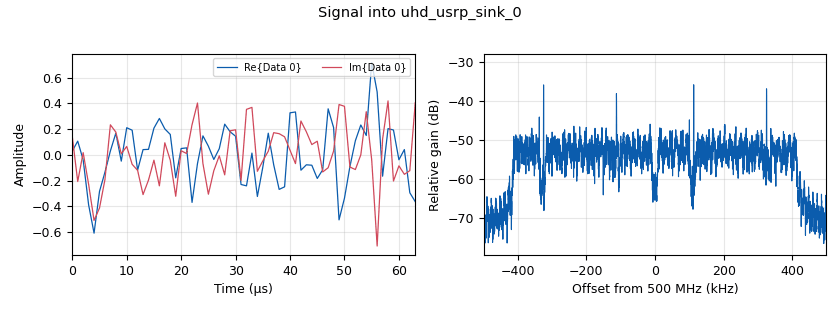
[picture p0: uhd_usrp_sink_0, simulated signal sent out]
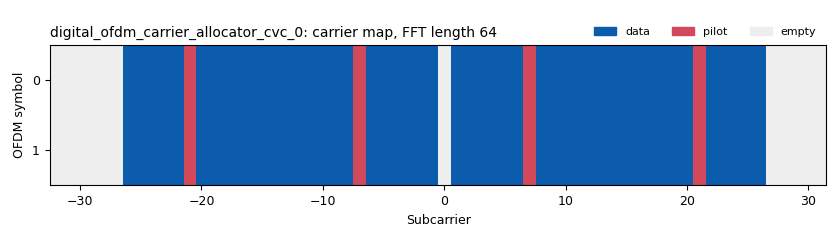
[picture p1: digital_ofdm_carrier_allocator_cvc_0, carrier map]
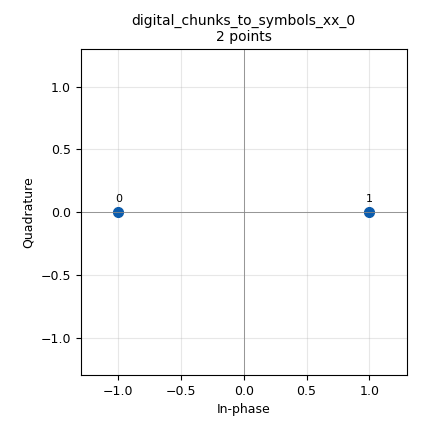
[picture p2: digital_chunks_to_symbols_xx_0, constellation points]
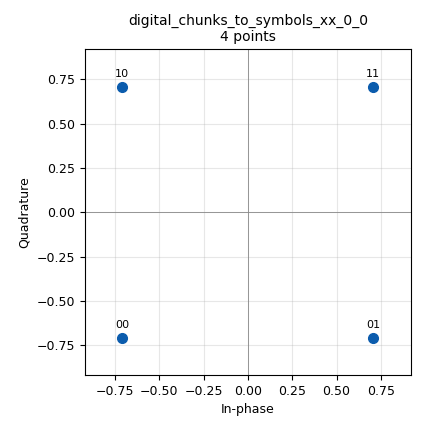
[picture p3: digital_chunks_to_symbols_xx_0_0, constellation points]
<?xml version='1.0' encoding='utf-8'?>
<?grc format='1' created='3.7.11'?>
<flow_graph>
<block>
<key>options</key>
<param><key>id</key><value>tx_ofdm</value></param>
<param><key>category</key><value>Custom</value></param>
<param><key>description</key><value>Example of an OFDM Transmitter</value></param>
<param><key>generate_options</key><value>qt_gui</value></param>
<param><key>run_options</key><value>run</value></param>
<param><key>title</key><value>OFDM Tx</value></param>
</block>
<block>
<key>variable_qtgui_range</key>
<param><key>id</key><value>Gain</value></param>
<param><key>value</key><value>8</value></param>
<param><key>label</key><value>"Noise"</value></param>
<param><key>orient</key><value>Qt.Horizontal</value></param>
<param><key>start</key><value>0</value></param>
<param><key>step</key><value>0.1</value></param>
<param><key>stop</key><value>18</value></param>
</block>
<block>
<key>variable</key>
<param><key>id</key><value>MTU</value></param>
<param><key>value</key><value>10000</value></param>
</block>
<block>
<key>variable</key>
<param><key>id</key><value>addr</value></param>
<param><key>value</key><value>"addr=192.168.10.2"</value></param>
</block>
<block>
<key>variable</key>
<param><key>id</key><value>addr_2</value></param>
<param><key>value</key><value>"addr=192.168.10.3"</value></param>
</block>
<block>
<key>variable_cc_decoder_def</key>
<param><key>id</key><value>dec_cc</value></param>
<param><key>padding</key><value>True</value></param>
<param><key>k</key><value>k</value></param>
<param><key>state_end</key><value>-1</value></param>
<param><key>framebits</key><value>MTU*8</value></param>
<param><key>ndim</key><value>0</value></param>
<param><key>polys</key><value>polys</value></param>
<param><key>rate</key><value>rate</value></param>
<param><key>state_start</key><value>0</value></param>
<param><key>mode</key><value>fec.CC_TERMINATED</value></param>
</block>
<block>
<key>variable_cc_encoder_def</key>
<param><key>id</key><value>enc_cc</value></param>
<param><key>padding</key><value>True</value></param>
<param><key>k</key><value>k</value></param>
<param><key>framebits</key><value>MTU*8</value></param>
<param><key>ndim</key><value>0</value></param>
<param><key>polys</key><value>polys</value></param>
<param><key>rate</key><value>rate</value></param>
<param><key>state_start</key><value>0</value></param>
<param><key>mode</key><value>fec.CC_TERMINATED</value></param>
</block>
<block>
<key>variable</key>
<param><key>id</key><value>fft_len</value></param>
<param><key>value</key><value>64</value></param>
</block>
<block>
<key>variable</key>
<param><key>id</key><value>frame_length</value></param>
<param><key>value</key><value>"frame_len"</value></param>
</block>
<block>
<key>variable</key>
<param><key>id</key><value>hdr_format</value></param>
<param><key>value</key><value>digital.header_format_ofdm(occupied_carriers, 1, length_tag_key,)</value></param>
</block>
<block>
<key>variable</key>
<param><key>id</key><value>header_equalizer</value></param>
<param><key>value</key><value>digital.ofdm_equalizer_simpledfe(fft_len, header_mod.base(), occupied_carriers, pilot_carriers, pilot_symbols)</value></param>
</block>
<block>
<key>variable</key>
<param><key>id</key><value>header_formatter</value></param>
<param><key>value</key><value>digital.packet_header_ofdm(occupied_carriers, n_syms=1, len_tag_key=length_tag_key, frame_len_tag_key=frame_length, bits_per_header_sym=header_mod.bits_per_symbol(), bits_per_payload_sym=payload_mod.bits_per_symbol(), scramble_header=False)</value></param>
</block>
<block>
<key>variable</key>
<param><key>id</key><value>header_mod</value></param>
<param><key>value</key><value>digital.constellation_bpsk()</value></param>
</block>
<block>
<key>variable</key>
<param><key>id</key><value>k</value></param>
<param><key>value</key><value>7</value></param>
</block>
<block>
<key>variable</key>
<param><key>id</key><value>length_tag_key</value></param>
<param><key>value</key><value>"packet_len"</value></param>
</block>
<block>
<key>variable</key>
<param><key>id</key><value>occupied_carriers</value></param>
<param><key>value</key><value>(range(-26, -21) + range(-20, -7) + range(-6, 0) + range(1, 7) + range(8, 21) + range(22, 27),)</value></param>
</block>
<block>
<key>variable</key>
<param><key>id</key><value>packet_len</value></param>
<param><key>value</key><value>96</value></param>
</block>
<block>
<key>variable</key>
<param><key>id</key><value>payload_equalizer</value></param>
<param><key>value</key><value>digital.ofdm_equalizer_simpledfe(fft_len, payload_mod.base(), occupied_carriers, pilot_carriers, pilot_symbols, 1)</value></param>
</block>
<block>
<key>variable</key>
<param><key>id</key><value>payload_mod</value></param>
<param><key>value</key><value>digital.constellation_qpsk()</value></param>
</block>
<block>
<key>variable</key>
<param><key>id</key><value>pilot_carriers</value></param>
<param><key>value</key><value>((-21, -7, 7, 21,),)</value></param>
</block>
<block>
<key>variable</key>
<param><key>id</key><value>pilot_symbols</value></param>
<param><key>value</key><value>((1, 1, 1, -1,),)</value></param>
</block>
<block>
<key>variable</key>
<param><key>id</key><value>polys</value></param>
<param><key>value</key><value>[109, 79]</value></param>
</block>
<block>
<key>variable</key>
<param><key>id</key><value>rate</value></param>
<param><key>value</key><value>2</value></param>
</block>
<block>
<key>variable</key>
<param><key>id</key><value>rolloff</value></param>
<param><key>value</key><value>0</value></param>
</block>
<block>
<key>variable</key>
<param><key>id</key><value>samp_rate</value></param>
<param><key>value</key><value>1000000</value></param>
</block>
<block>
<key>variable</key>
<param><key>id</key><value>sync_word1</value></param>
<param><key>value</key><value>[0., 0., 0., 0., 0., 0., 0., 1.41421356, 0., -1.41421356, 0., 1.41421356, 0., -1.41421356, 0., -1.41421356, 0., -1.41421356, 0., 1.41421356, 0., -1.41421356, 0., 1.41421356, 0., -1.41421356, 0., -1.41421356, 0., -1.41421356, 0., -1.41421356, 0., 1.41421356, 0., -1.41421356, 0., 1.41421356, 0., 1.41421356, 0., 1.41421356, 0., -1.41421356, 0., 1.41421356, 0., 1.41421356, 0., 1.41421356, 0., -1.41421356, 0., 1.41421356, 0., 1.41421356, 0., 1.41421356, 0., 0., 0., 0., 0., 0.]</value></param>
</block>
<block>
<key>variable</key>
<param><key>id</key><value>sync_word2</value></param>
<param><key>value</key><value>[0, 0, 0, 0, 0, 0, -1, -1, -1, -1, 1, 1, -1, -1, -1, 1, -1, 1, 1, 1, 1, 1, -1, -1, -1, -1, -1, 1, -1, -1, 1, -1, 0, 1, -1, 1, 1, 1, -1, 1, 1, 1, -1, 1, 1, 1, 1, -1, 1, -1, -1, -1, 1, -1, 1, -1, -1, -1, -1, 0, 0, 0, 0, 0] </value></param>
</block>
<block>
<key>analog_frequency_modulator_fc</key>
<param><key>id</key><value>analog_frequency_modulator_fc_0</value></param>
<param><key>sensitivity</key><value>-2.0/fft_len</value></param>
</block>
<block>
<key>analog_noise_source_x</key>
<param><key>id</key><value>analog_noise_source_x_0</value></param>
<param><key>amp</key><value>0.1</value></param>
<param><key>_enabled</key><value>0</value></param>
<param><key>noise_type</key><value>analog.GR_GAUSSIAN</value></param>
<param><key>type</key><value>complex</value></param>
<param><key>seed</key><value>0</value></param>
</block>
<block>
<key>analog_random_source_x</key>
<param><key>id</key><value>analog_random_source_x_0</value></param>
<param><key>max</key><value>255</value></param>
<param><key>min</key><value>0</value></param>
<param><key>num_samps</key><value>1000</value></param>
<param><key>type</key><value>byte</value></param>
<param><key>repeat</key><value>True</value></param>
</block>
<block>
<key>blocks_add_xx</key>
<param><key>id</key><value>blocks_add_xx_0</value></param>
<param><key>_enabled</key><value>0</value></param>
<param><key>type</key><value>complex</value></param>
</block>
<block>
<key>blocks_char_to_float</key>
<param><key>id</key><value>blocks_char_to_float_1_0</value></param>
<param><key>scale</key><value>1</value></param>
</block>
<block>
<key>blocks_delay</key>
<param><key>id</key><value>blocks_delay_0</value></param>
<param><key>delay</key><value>fft_len+fft_len/4</value></param>
<param><key>type</key><value>complex</value></param>
</block>
<block>
<key>blocks_file_sink</key>
<param><key>id</key><value>blocks_file_sink_0</value></param>
<param><key>_enabled</key><value>0</value></param>
<param><key>file</key><value>/home/lab/Test/PER_values</value></param>
<param><key>type</key><value>float</value></param>
<param><key>unbuffered</key><value>True</value></param>
</block>
<block>
<key>blocks_file_sink</key>
<param><key>id</key><value>blocks_file_sink_0_0</value></param>
<param><key>file</key><value>/home/lab/Test/OFDM_SNR/No_FEC/signal_8dB</value></param>
<param><key>type</key><value>complex</value></param>
</block>
<block>
<key>blocks_file_sink</key>
<param><key>id</key><value>blocks_file_sink_0_0_0</value></param>
<param><key>_enabled</key><value>0</value></param>
<param><key>file</key><value>/home/lab/Test/Original/noise_30</value></param>
<param><key>type</key><value>complex</value></param>
</block>
<block>
<key>blocks_multiply_const_vxx</key>
<param><key>id</key><value>blocks_multiply_const_vxx_0</value></param>
<param><key>const</key><value>0.05</value></param>
<param><key>type</key><value>complex</value></param>
</block>
<block>
<key>blocks_multiply_xx</key>
<param><key>id</key><value>blocks_multiply_xx_0</value></param>
<param><key>type</key><value>complex</value></param>
</block>
<block>
<key>blocks_repack_bits_bb</key>
<param><key>id</key><value>blocks_repack_bits_bb_0</value></param>
<param><key>k</key><value>8</value></param>
<param><key>l</key><value>payload_mod.bits_per_symbol()</value></param>
<param><key>endianness</key><value>gr.GR_LSB_FIRST</value></param>
<param><key>len_tag_key</key><value>length_tag_key</value></param>
</block>
<block>
<key>blocks_repack_bits_bb</key>
<param><key>id</key><value>blocks_repack_bits_bb_0_0</value></param>
<param><key>k</key><value>8</value></param>
<param><key>l</key><value>1</value></param>
<param><key>endianness</key><value>gr.GR_LSB_FIRST</value></param>
<param><key>len_tag_key</key><value>length_tag_key</value></param>
</block>
<block>
<key>blocks_repack_bits_bb</key>
<param><key>id</key><value>blocks_repack_bits_bb_0_1</value></param>
<param><key>k</key><value>payload_mod.bits_per_symbol()</value></param>
<param><key>l</key><value>8</value></param>
<param><key>endianness</key><value>gr.GR_LSB_FIRST</value></param>
<param><key>len_tag_key</key><value>length_tag_key</value></param>
<param><key>align_output</key><value>True</value></param>
</block>
<block>
<key>blocks_repack_bits_bb</key>
<param><key>id</key><value>blocks_repack_bits_bb_0_1_0</value></param>
<param><key>k</key><value>1</value></param>
<param><key>l</key><value>8</value></param>
<param><key>endianness</key><value>gr.GR_LSB_FIRST</value></param>
<param><key>len_tag_key</key><value>length_tag_key</value></param>
<param><key>align_output</key><value>True</value></param>
</block>
<block>
<key>blocks_repack_bits_bb</key>
<param><key>id</key><value>blocks_repack_bits_bb_0_1_1</value></param>
<param><key>k</key><value>8</value></param>
<param><key>l</key><value>1</value></param>
<param><key>endianness</key><value>gr.GR_LSB_FIRST</value></param>
<param><key>len_tag_key</key><value>length_tag_key</value></param>
<param><key>align_output</key><value>True</value></param>
</block>
<block>
<key>blocks_repack_bits_bb</key>
<param><key>id</key><value>blocks_repack_bits_bb_0_2</value></param>
<param><key>k</key><value>8</value></param>
<param><key>l</key><value>1</value></param>
<param><key>endianness</key><value>gr.GR_LSB_FIRST</value></param>
<param><key>len_tag_key</key><value>length_tag_key</value></param>
</block>
<block>
<key>blocks_repack_bits_bb</key>
<param><key>id</key><value>blocks_repack_bits_bb_0_2_0</value></param>
<param><key>k</key><value>1</value></param>
<param><key>l</key><value>8</value></param>
<param><key>endianness</key><value>gr.GR_LSB_FIRST</value></param>
<param><key>len_tag_key</key><value>length_tag_key</value></param>
</block>
<block>
<key>blocks_stream_to_tagged_stream</key>
<param><key>id</key><value>blocks_stream_to_tagged_stream_0</value></param>
<param><key>len_tag_key</key><value>length_tag_key</value></param>
<param><key>packet_len</key><value>packet_len</value></param>
<param><key>type</key><value>byte</value></param>
</block>
<block>
<key>blocks_tag_debug</key>
<param><key>id</key><value>blocks_tag_debug_0</value></param>
<param><key>_enabled</key><value>0</value></param>
<param><key>type</key><value>byte</value></param>
<param><key>name</key><value>Rx'd Packets</value></param>
</block>
<block>
<key>blocks_tag_debug</key>
<param><key>id</key><value>blocks_tag_debug_1_0</value></param>
<param><key>display</key><value>False</value></param>
<param><key>type</key><value>float</value></param>
<param><key>name</key><value>Rx Bytes</value></param>
</block>
<block>
<key>blocks_tag_debug</key>
<param><key>id</key><value>blocks_tag_debug_1_1</value></param>
<param><key>display</key><value>False</value></param>
<param><key>type</key><value>byte</value></param>
<param><key>filter</key><value></value></param>
<param><key>name</key><value>Rx Bytes_1</value></param>
</block>
<block>
<key>blocks_tag_debug</key>
<param><key>id</key><value>blocks_tag_debug_1_1_0</value></param>
<param><key>display</key><value>False</value></param>
<param><key>_enabled</key><value>0</value></param>
<param><key>type</key><value>byte</value></param>
<param><key>filter</key><value>packet_len</value></param>
<param><key>name</key><value>Rx Bytes</value></param>
</block>
<block>
<key>blocks_tag_gate</key>
<param><key>id</key><value>blocks_tag_gate_0</value></param>
<param><key>_enabled</key><value>0</value></param>
<param><key>type</key><value>complex</value></param>
<param><key>propagate_tags</key><value>False</value></param>
</block>
<block>
<key>blocks_tagged_stream_mux</key>
<param><key>id</key><value>blocks_tagged_stream_mux_0</value></param>
<param><key>type</key><value>complex</value></param>
<param><key>lengthtagname</key><value>length_tag_key</value></param>
<param><key>ninputs</key><value>2</value></param>
</block>
<block>
<key>blocks_throttle</key>
<param><key>id</key><value>blocks_throttle_0</value></param>
<param><key>_enabled</key><value>0</value></param>
<param><key>samples_per_second</key><value>samp_rate</value></param>
<param><key>type</key><value>complex</value></param>
</block>
<block>
<key>channels_channel_model</key>
<param><key>id</key><value>channels_channel_model_0</value></param>
<param><key>block_tags</key><value>True</value></param>
<param><key>_enabled</key><value>0</value></param>
<param><key>epsilon</key><value>1.0</value></param>
<param><key>freq_offset</key><value>0.0</value></param>
<param><key>noise_voltage</key><value>0.0</value></param>
<param><key>seed</key><value>0</value></param>
<param><key>taps</key><value>1.0 + 1.0j</value></param>
</block>
<block>
<key>digital_chunks_to_symbols_xx</key>
<param><key>id</key><value>digital_chunks_to_symbols_xx_0</value></param>
<param><key>dimension</key><value>1</value></param>
<param><key>in_type</key><value>byte</value></param>
<param><key>out_type</key><value>complex</value></param>
<param><key>symbol_table</key><value>header_mod.points()</value></param>
</block>
<block>
<key>digital_chunks_to_symbols_xx</key>
<param><key>id</key><value>digital_chunks_to_symbols_xx_0_0</value></param>
<param><key>dimension</key><value>1</value></param>
<param><key>in_type</key><value>byte</value></param>
<param><key>out_type</key><value>complex</value></param>
<param><key>symbol_table</key><value>payload_mod.points()</value></param>
</block>
<block>
<key>digital_constellation_decoder_cb</key>
<param><key>id</key><value>digital_constellation_decoder_cb_0</value></param>
<param><key>constellation</key><value>header_mod.base()</value></param>
</block>
<block>
<key>digital_constellation_decoder_cb</key>
<param><key>id</key><value>digital_constellation_decoder_cb_1</value></param>
<param><key>constellation</key><value>payload_mod.base()</value></param>
</block>
<block>
<key>digital_crc32_bb</key>
<param><key>id</key><value>digital_crc32_bb_0</value></param>
<param><key>lengthtagname</key><value>length_tag_key</value></param>
<param><key>check</key><value>False</value></param>
<param><key>packed</key><value>True</value></param>
</block>
<block>
<key>digital_crc32_bb</key>
<param><key>id</key><value>digital_crc32_bb_0_0</value></param>
<param><key>lengthtagname</key><value>length_tag_key</value></param>
<param><key>check</key><value>True</value></param>
<param><key>packed</key><value>True</value></param>
</block>
<block>
<key>digital_header_payload_demux</key>
<param><key>id</key><value>digital_header_payload_demux_0</value></param>
<param><key>guard_interval</key><value>fft_len/4</value></param>
<param><key>header_len</key><value>3</value></param>
<param><key>header_padding</key><value>0</value></param>
<param><key>type</key><value>complex</value></param>
<param><key>items_per_symbol</key><value>fft_len</value></param>
<param><key>length_tag_key</key><value>frame_length</value></param>
<param><key>output_symbols</key><value>True</value></param>
<param><key>samp_rate</key><value>samp_rate</value></param>
<param><key>special_tags</key><value>()</value></param>
<param><key>timing_tag_key</key><value>"rx_time"</value></param>
</block>
<block>
<key>digital_map_bb</key>
<param><key>id</key><value>digital_map_bb_0</value></param>
<param><key>map</key><value>-1,1</value></param>
</block>
<block>
<key>digital_ofdm_carrier_allocator_cvc</key>
<param><key>id</key><value>digital_ofdm_carrier_allocator_cvc_0</value></param>
<param><key>fft_len</key><value>fft_len</value></param>
<param><key>len_tag_key</key><value>length_tag_key</value></param>
<param><key>occupied_carriers</key><value>occupied_carriers</value></param>
<param><key>pilot_carriers</key><value>pilot_carriers</value></param>
<param><key>pilot_symbols</key><value>pilot_symbols</value></param>
<param><key>sync_words</key><value>(sync_word1, sync_word2)</value></param>
</block>
<block>
<key>digital_ofdm_chanest_vcvc</key>
<param><key>id</key><value>digital_ofdm_chanest_vcvc_0</value></param>
<param><key>force_one_symbol</key><value>False</value></param>
<param><key>max_carr_offset</key><value>3</value></param>
<param><key>n_data_symbols</key><value>1</value></param>
<param><key>sync_symbol1</key><value>sync_word1</value></param>
<param><key>sync_symbol2</key><value>sync_word2</value></param>
</block>
<block>
<key>digital_ofdm_cyclic_prefixer</key>
<param><key>id</key><value>digital_ofdm_cyclic_prefixer_0</value></param>
<param><key>cp_len</key><value>fft_len/4</value></param>
<param><key>input_size</key><value>fft_len</value></param>
<param><key>tagname</key><value>length_tag_key</value></param>
<param><key>rolloff</key><value>rolloff</value></param>
</block>
<block>
<key>digital_ofdm_frame_equalizer_vcvc</key>
<param><key>id</key><value>digital_ofdm_frame_equalizer_vcvc_0</value></param>
<param><key>cp_len</key><value>fft_len/4</value></param>
<param><key>equalizer</key><value>header_equalizer.base()</value></param>
<param><key>fft_len</key><value>fft_len</value></param>
<param><key>fixed_frame_len</key><value>1</value></param>
<param><key>len_tag_key</key><value>frame_length</value></param>
<param><key>propagate_channel_state</key><value>True</value></param>
</block>
<block>
<key>digital_ofdm_frame_equalizer_vcvc</key>
<param><key>id</key><value>digital_ofdm_frame_equalizer_vcvc_1</value></param>
<param><key>cp_len</key><value>fft_len/4</value></param>
<param><key>equalizer</key><value>payload_equalizer.base()</value></param>
<param><key>fft_len</key><value>fft_len</value></param>
<param><key>len_tag_key</key><value>frame_length</value></param>
<param><key>propagate_channel_state</key><value>False</value></param>
</block>
<block>
<key>digital_ofdm_rx</key>
<param><key>id</key><value>digital_ofdm_rx_0</value></param>
<param><key>cp_len</key><value>fft_len/4</value></param>
<param><key>_enabled</key><value>0</value></param>
<param><key>fft_len</key><value>fft_len</value></param>
<param><key>header_mod</key><value>"BPSK"</value></param>
<param><key>occupied_carriers</key><value>occupied_carriers</value></param>
<param><key>packet_len_key</key><value>"length"</value></param>
<param><key>payload_mod</key><value>"QPSK"</value></param>
<param><key>pilot_carriers</key><value>pilot_carriers</value></param>
<param><key>pilot_symbols</key><value>pilot_symbols</value></param>
<param><key>sync_word1</key><value>sync_word1</value></param>
<param><key>sync_word2</key><value>sync_word2</value></param>
</block>
<block>
<key>digital_ofdm_serializer_vcc</key>
<param><key>id</key><value>digital_ofdm_serializer_vcc_header</value></param>
<param><key>carr_offset_key</key><value></value></param>
<param><key>fft_len</key><value>fft_len</value></param>
<param><key>len_tag_key</key><value>frame_length</value></param>
<param><key>occupied_carriers</key><value>occupied_carriers</value></param>
<param><key>packet_len_tag_key</key><value></value></param>
</block>
<block>
<key>digital_ofdm_serializer_vcc</key>
<param><key>id</key><value>digital_ofdm_serializer_vcc_payload</value></param>
<param><key>carr_offset_key</key><value></value></param>
<param><key>fft_len</key><value>fft_len</value></param>
<param><key>len_tag_key</key><value>frame_length</value></param>
<param><key>occupied_carriers</key><value>occupied_carriers</value></param>
<param><key>packet_len_tag_key</key><value>length_tag_key</value></param>
<param><key>symbols_skipped</key><value>1</value></param>
</block>
<block>
<key>digital_ofdm_sync_sc_cfb</key>
<param><key>id</key><value>digital_ofdm_sync_sc_cfb_0</value></param>
<param><key>cp_len</key><value>fft_len/4</value></param>
<param><key>fft_len</key><value>fft_len</value></param>
</block>
<block>
<key>digital_packet_headerparser_b</key>
<param><key>id</key><value>digital_packet_headerparser_b_0</value></param>
<param><key>header_formatter</key><value>header_formatter.base()</value></param>
</block>
<block>
<key>digital_protocol_formatter_bb</key>
<param><key>id</key><value>digital_protocol_formatter_bb_0</value></param>
<param><key>format</key><value>hdr_format</value></param>
<param><key>len_tag_key</key><value>length_tag_key</value></param>
</block>
<block>
<key>fec_extended_tagged_decoder</key>
<param><key>id</key><value>fec_extended_tagged_decoder_0_0</value></param>
<param><key>decoder_list</key><value>dec_cc</value></param>
<param><key>lentagname</key><value>length_tag_key</value></param>
<param><key>mtu</key><value>MTU</value></param>
<param><key>puncpat</key><value>'11'</value></param>
</block>
<block>
<key>fec_extended_tagged_encoder</key>
<param><key>id</key><value>fec_extended_tagged_encoder_0</value></param>
<param><key>encoder_list</key><value>enc_cc</value></param>
<param><key>lentagname</key><value>length_tag_key</value></param>
<param><key>mtu</key><value>MTU</value></param>
<param><key>puncpat</key><value>'11'</value></param>
</block>
<block>
<key>fft_vxx</key>
<param><key>id</key><value>fft_vxx_0</value></param>
<param><key>fft_size</key><value>fft_len</value></param>
<param><key>forward</key><value>False</value></param>
<param><key>type</key><value>complex</value></param>
<param><key>shift</key><value>True</value></param>
<param><key>window</key><value>()</value></param>
</block>
<block>
<key>fft_vxx</key>
<param><key>id</key><value>fft_vxx_0_0</value></param>
<param><key>fft_size</key><value>fft_len</value></param>
<param><key>forward</key><value>True</value></param>
<param><key>type</key><value>complex</value></param>
<param><key>shift</key><value>True</value></param>
<param><key>window</key><value>()</value></param>
</block>
<block>
<key>fft_vxx</key>
<param><key>id</key><value>fft_vxx_1</value></param>
<param><key>fft_size</key><value>fft_len</value></param>
<param><key>forward</key><value>True</value></param>
<param><key>type</key><value>complex</value></param>
<param><key>shift</key><value>True</value></param>
<param><key>window</key><value></value></param>
</block>
<block>
<key>virtual_sink</key>
<param><key>id</key><value>header_bits</value></param>
<param><key>stream_id</key><value>Header Bits</value></param>
</block>
<block>
<key>import</key>
<param><key>id</key><value>import</value></param>
<param><key>import</key><value>import math</value></param>
</block>
<block>
<key>ofdm_allocator_per_measure</key>
<param><key>id</key><value>ofdm_allocator_per_measure_0</value></param>
<param><key>type</key><value>byte</value></param>
<param><key>num_inputs</key><value>1</value></param>
<param><key>vlen</key><value>1</value></param>
<param><key>window</key><value>1000</value></param>
</block>
<block>
<key>qtgui_freq_sink_x</key>
<param><key>id</key><value>qtgui_freq_sink_x_1</value></param>
<param><key>bw</key><value>samp_rate</value></param>
<param><key>fc</key><value>500e6</value></param>
<param><key>ctrlpanel</key><value>True</value></param>
<param><key>_enabled</key><value>0</value></param>
<param><key>fftsize</key><value>1024</value></param>
<param><key>name</key><value>"Signal"</value></param>
<param><key>showports</key><value>True</value></param>
<param><key>type</key><value>complex</value></param>
<param><key>wintype</key><value>firdes.WIN_BLACKMAN_hARRIS</value></param>
</block>
<block>
<key>qtgui_freq_sink_x</key>
<param><key>id</key><value>qtgui_freq_sink_x_1_0</value></param>
<param><key>bw</key><value>samp_rate</value></param>
<param><key>fc</key><value>500e6</value></param>
<param><key>ctrlpanel</key><value>True</value></param>
<param><key>_enabled</key><value>0</value></param>
<param><key>fftsize</key><value>1024</value></param>
<param><key>grid</key><value>True</value></param>
<param><key>name</key><value>"Noise"</value></param>
<param><key>showports</key><value>True</value></param>
<param><key>type</key><value>complex</value></param>
<param><key>wintype</key><value>firdes.WIN_BLACKMAN_hARRIS</value></param>
</block>
<block>
<key>qtgui_waterfall_sink_x</key>
<param><key>id</key><value>qtgui_waterfall_sink_x_0</value></param>
<param><key>bw</key><value>samp_rate</value></param>
<param><key>fc</key><value>500e6</value></param>
<param><key>_enabled</key><value>0</value></param>
<param><key>fftsize</key><value>1024</value></param>
<param><key>showports</key><value>True</value></param>
<param><key>type</key><value>complex</value></param>
<param><key>wintype</key><value>firdes.WIN_BLACKMAN_hARRIS</value></param>
</block>
<block>
<key>uhd_usrp_sink</key>
<param><key>id</key><value>uhd_usrp_sink_0</value></param>
<param><key>ant0</key><value>TX/RX</value></param>
<param><key>bw0</key><value>samp_rate</value></param>
<param><key>center_freq0</key><value>500e6</value></param>
<param><key>norm_gain0</key><value>False</value></param>
<param><key>gain0</key><value>Gain</value></param>
<param><key>clock_rate</key><value>0.0</value></param>
<param><key>dev_addr</key><value>addr</value></param>
<param><key>type</key><value>fc32</value></param>
<param><key>samp_rate</key><value>samp_rate</value></param>
<param><key>hide_cmd_port</key><value>False</value></param>
<param><key>hide_lo_controls</key><value>True</value></param>
<param><key>sync</key><value></value></param>
<param><key>len_tag_name</key><value></value></param>
</block>
<block>
<key>uhd_usrp_source</key>
<param><key>id</key><value>uhd_usrp_source_0</value></param>
<param><key>ant0</key><value>RX2</value></param>
<param><key>bw0</key><value>samp_rate</value></param>
<param><key>center_freq0</key><value>500e6</value></param>
<param><key>dc_offs_enb0</key><value>""</value></param>
<param><key>iq_imbal_enb0</key><value>""</value></param>
<param><key>norm_gain0</key><value>False</value></param>
<param><key>gain0</key><value>0</value></param>
<param><key>clock_rate</key><value>0.0</value></param>
<param><key>dev_addr</key><value>addr_2</value></param>
<param><key>type</key><value>fc32</value></param>
<param><key>samp_rate</key><value>samp_rate</value></param>
<param><key>hide_cmd_port</key><value>False</value></param>
<param><key>hide_lo_controls</key><value>True</value></param>
<param><key>sync</key><value></value></param>
</block>
<block>
<key>virtual_sink</key>
<param><key>id</key><value>virtual_sink_0</value></param>
<param><key>stream_id</key><value>Time Domain</value></param>
</block>
<block>
<key>virtual_sink</key>
<param><key>id</key><value>virtual_sink_0_0</value></param>
<param><key>stream_id</key><value>Payload Bits</value></param>
</block>
<block>
<key>virtual_sink</key>
<param><key>id</key><value>virtual_sink_0_0_0</value></param>
<param><key>stream_id</key><value>Pre-OFDM</value></param>
</block>
<block>
<key>virtual_sink</key>
<param><key>id</key><value>virtual_sink_0_1</value></param>
<param><key>stream_id</key><value>Header Stream</value></param>
</block>
<block>
<key>virtual_sink</key>
<param><key>id</key><value>virtual_sink_1</value></param>
<param><key>_enabled</key><value>0</value></param>
<param><key>stream_id</key><value>Tx Signal</value></param>
</block>
<block>
<key>virtual_sink</key>
<param><key>id</key><value>virtual_sink_1_0</value></param>
<param><key>stream_id</key><value>Payload Stream</value></param>
</block>
<block>
<key>virtual_sink</key>
<param><key>id</key><value>virtual_sink_1_0_0</value></param>
<param><key>stream_id</key><value>Payload IQ</value></param>
</block>
<block>
<key>virtual_source</key>
<param><key>id</key><value>virtual_source_0</value></param>
<param><key>stream_id</key><value>Header Bits</value></param>
</block>
<block>
<key>virtual_source</key>
<param><key>id</key><value>virtual_source_0_0</value></param>
<param><key>stream_id</key><value>Payload Bits</value></param>
</block>
<block>
<key>virtual_source</key>
<param><key>id</key><value>virtual_source_0_0_0</value></param>
<param><key>stream_id</key><value>Pre-OFDM</value></param>
</block>
<block>
<key>virtual_source</key>
<param><key>id</key><value>virtual_source_0_0_0_0</value></param>
<param><key>stream_id</key><value>Time Domain</value></param>
</block>
<block>
<key>virtual_source</key>
<param><key>id</key><value>virtual_source_0_0_1</value></param>
<param><key>stream_id</key><value>Payload IQ</value></param>
</block>
<block>
<key>virtual_source</key>
<param><key>id</key><value>virtual_source_0_1</value></param>
<param><key>stream_id</key><value>Header Stream</value></param>
</block>
<block>
<key>virtual_source</key>
<param><key>id</key><value>virtual_source_1</value></param>
<param><key>_enabled</key><value>0</value></param>
<param><key>stream_id</key><value>Tx Signal</value></param>
</block>
<block>
<key>virtual_source</key>
<param><key>id</key><value>virtual_source_1_0</value></param>
<param><key>stream_id</key><value>Payload Stream</value></param>
</block>
<connection><source_block_id>analog_frequency_modulator_fc_0</source_block_id><sink_block_id>blocks_multiply_xx_0</sink_block_id><source_key>0</source_key><sink_key>0</sink_key></connection>
<connection><source_block_id>analog_noise_source_x_0</source_block_id><sink_block_id>blocks_add_xx_0</sink_block_id><source_key>0</source_key><sink_key>1</sink_key></connection>
<connection><source_block_id>analog_noise_source_x_0</source_block_id><sink_block_id>blocks_file_sink_0_0_0</sink_block_id><source_key>0</source_key><sink_key>0</sink_key></connection>
<connection><source_block_id>analog_noise_source_x_0</source_block_id><sink_block_id>qtgui_freq_sink_x_1_0</sink_block_id><source_key>0</source_key><sink_key>0</sink_key></connection>
<connection><source_block_id>analog_random_source_x_0</source_block_id><sink_block_id>blocks_stream_to_tagged_stream_0</sink_block_id><source_key>0</source_key><sink_key>0</sink_key></connection>
<connection><source_block_id>blocks_add_xx_0</source_block_id><sink_block_id>blocks_delay_0</sink_block_id><source_key>0</source_key><sink_key>0</sink_key></connection>
<connection><source_block_id>blocks_add_xx_0</source_block_id><sink_block_id>digital_ofdm_sync_sc_cfb_0</sink_block_id><source_key>0</source_key><sink_key>0</sink_key></connection>
<connection><source_block_id>blocks_char_to_float_1_0</source_block_id><sink_block_id>fec_extended_tagged_decoder_0_0</sink_block_id><source_key>0</source_key><sink_key>0</sink_key></connection>
<connection><source_block_id>blocks_delay_0</source_block_id><sink_block_id>blocks_multiply_xx_0</sink_block_id><source_key>0</source_key><sink_key>1</sink_key></connection>
<connection><source_block_id>blocks_multiply_const_vxx_0</source_block_id><sink_block_id>blocks_tag_gate_0</sink_block_id><source_key>0</source_key><sink_key>0</sink_key></connection>
<connection><source_block_id>blocks_multiply_const_vxx_0</source_block_id><sink_block_id>uhd_usrp_sink_0</sink_block_id><source_key>0</source_key><sink_key>0</sink_key></connection>
<connection><source_block_id>blocks_multiply_xx_0</source_block_id><sink_block_id>digital_header_payload_demux_0</sink_block_id><source_key>0</source_key><sink_key>0</sink_key></connection>
<connection><source_block_id>blocks_repack_bits_bb_0</source_block_id><sink_block_id>virtual_sink_0_0</sink_block_id><source_key>0</source_key><sink_key>0</sink_key></connection>
<connection><source_block_id>blocks_repack_bits_bb_0_0</source_block_id><sink_block_id>header_bits</sink_block_id><source_key>0</source_key><sink_key>0</sink_key></connection>
<connection><source_block_id>blocks_repack_bits_bb_0_1</source_block_id><sink_block_id>blocks_repack_bits_bb_0_1_1</sink_block_id><source_key>0</source_key><sink_key>0</sink_key></connection>
<connection><source_block_id>blocks_repack_bits_bb_0_1_0</source_block_id><sink_block_id>digital_crc32_bb_0_0</sink_block_id><source_key>0</source_key><sink_key>0</sink_key></connection>
<connection><source_block_id>blocks_repack_bits_bb_0_1_1</source_block_id><sink_block_id>digital_map_bb_0</sink_block_id><source_key>0</source_key><sink_key>0</sink_key></connection>
<connection><source_block_id>blocks_repack_bits_bb_0_2</source_block_id><sink_block_id>fec_extended_tagged_encoder_0</sink_block_id><source_key>0</source_key><sink_key>0</sink_key></connection>
<connection><source_block_id>blocks_repack_bits_bb_0_2_0</source_block_id><sink_block_id>blocks_repack_bits_bb_0</sink_block_id><source_key>0</source_key><sink_key>0</sink_key></connection>
<connection><source_block_id>blocks_repack_bits_bb_0_2_0</source_block_id><sink_block_id>blocks_tag_debug_1_1_0</sink_block_id><source_key>0</source_key><sink_key>0</sink_key></connection>
<connection><source_block_id>blocks_repack_bits_bb_0_2_0</source_block_id><sink_block_id>digital_protocol_formatter_bb_0</sink_block_id><source_key>0</source_key><sink_key>0</sink_key></connection>
<connection><source_block_id>blocks_stream_to_tagged_stream_0</source_block_id><sink_block_id>digital_crc32_bb_0</sink_block_id><source_key>0</source_key><sink_key>0</sink_key></connection>
<connection><source_block_id>blocks_tag_gate_0</source_block_id><sink_block_id>blocks_throttle_0</sink_block_id><source_key>0</source_key><sink_key>0</sink_key></connection>
<connection><source_block_id>blocks_tagged_stream_mux_0</source_block_id><sink_block_id>virtual_sink_0_0_0</sink_block_id><source_key>0</source_key><sink_key>0</sink_key></connection>
<connection><source_block_id>blocks_throttle_0</source_block_id><sink_block_id>virtual_sink_1</sink_block_id><source_key>0</source_key><sink_key>0</sink_key></connection>
<connection><source_block_id>channels_channel_model_0</source_block_id><sink_block_id>blocks_add_xx_0</sink_block_id><source_key>0</source_key><sink_key>0</sink_key></connection>
<connection><source_block_id>channels_channel_model_0</source_block_id><sink_block_id>blocks_delay_0</sink_block_id><source_key>0</source_key><sink_key>0</sink_key></connection>
<connection><source_block_id>channels_channel_model_0</source_block_id><sink_block_id>digital_ofdm_rx_0</sink_block_id><source_key>0</source_key><sink_key>0</sink_key></connection>
<connection><source_block_id>channels_channel_model_0</source_block_id><sink_block_id>digital_ofdm_sync_sc_cfb_0</sink_block_id><source_key>0</source_key><sink_key>0</sink_key></connection>
<connection><source_block_id>digital_chunks_to_symbols_xx_0</source_block_id><sink_block_id>blocks_tagged_stream_mux_0</sink_block_id><source_key>0</source_key><sink_key>0</sink_key></connection>
<connection><source_block_id>digital_chunks_to_symbols_xx_0_0</source_block_id><sink_block_id>blocks_tagged_stream_mux_0</sink_block_id><source_key>0</source_key><sink_key>1</sink_key></connection>
<connection><source_block_id>digital_constellation_decoder_cb_0</source_block_id><sink_block_id>digital_packet_headerparser_b_0</sink_block_id><source_key>0</source_key><sink_key>0</sink_key></connection>
<connection><source_block_id>digital_constellation_decoder_cb_1</source_block_id><sink_block_id>blocks_repack_bits_bb_0_1</sink_block_id><source_key>0</source_key><sink_key>0</sink_key></connection>
<connection><source_block_id>digital_crc32_bb_0</source_block_id><sink_block_id>blocks_repack_bits_bb_0_2</sink_block_id><source_key>0</source_key><sink_key>0</sink_key></connection>
<connection><source_block_id>digital_crc32_bb_0_0</source_block_id><sink_block_id>blocks_tag_debug_1_1</sink_block_id><source_key>0</source_key><sink_key>0</sink_key></connection>
<connection><source_block_id>digital_crc32_bb_0_0</source_block_id><sink_block_id>ofdm_allocator_per_measure_0</sink_block_id><source_key>0</source_key><sink_key>0</sink_key></connection>
<connection><source_block_id>digital_header_payload_demux_0</source_block_id><sink_block_id>virtual_sink_0_1</sink_block_id><source_key>0</source_key><sink_key>0</sink_key></connection>
<connection><source_block_id>digital_header_payload_demux_0</source_block_id><sink_block_id>virtual_sink_1_0</sink_block_id><source_key>1</source_key><sink_key>0</sink_key></connection>
<connection><source_block_id>digital_map_bb_0</source_block_id><sink_block_id>blocks_char_to_float_1_0</sink_block_id><source_key>0</source_key><sink_key>0</sink_key></connection>
<connection><source_block_id>digital_ofdm_carrier_allocator_cvc_0</source_block_id><sink_block_id>fft_vxx_0</sink_block_id><source_key>0</source_key><sink_key>0</sink_key></connection>
<connection><source_block_id>digital_ofdm_chanest_vcvc_0</source_block_id><sink_block_id>digital_ofdm_frame_equalizer_vcvc_0</sink_block_id><source_key>0</source_key><sink_key>0</sink_key></connection>
<connection><source_block_id>digital_ofdm_cyclic_prefixer_0</source_block_id><sink_block_id>virtual_sink_0</sink_block_id><source_key>0</source_key><sink_key>0</sink_key></connection>
<connection><source_block_id>digital_ofdm_frame_equalizer_vcvc_0</source_block_id><sink_block_id>digital_ofdm_serializer_vcc_header</sink_block_id><source_key>0</source_key><sink_key>0</sink_key></connection>
<connection><source_block_id>digital_ofdm_frame_equalizer_vcvc_1</source_block_id><sink_block_id>digital_ofdm_serializer_vcc_payload</sink_block_id><source_key>0</source_key><sink_key>0</sink_key></connection>
<connection><source_block_id>digital_ofdm_rx_0</source_block_id><sink_block_id>blocks_tag_debug_0</sink_block_id><source_key>0</source_key><sink_key>0</sink_key></connection>
<connection><source_block_id>digital_ofdm_serializer_vcc_header</source_block_id><sink_block_id>digital_constellation_decoder_cb_0</sink_block_id><source_key>0</source_key><sink_key>0</sink_key></connection>
<connection><source_block_id>digital_ofdm_serializer_vcc_payload</source_block_id><sink_block_id>virtual_sink_1_0_0</sink_block_id><source_key>0</source_key><sink_key>0</sink_key></connection>
<connection><source_block_id>digital_ofdm_sync_sc_cfb_0</source_block_id><sink_block_id>digital_header_payload_demux_0</sink_block_id><source_key>1</source_key><sink_key>1</sink_key></connection>
<connection><source_block_id>digital_ofdm_sync_sc_cfb_0</source_block_id><sink_block_id>analog_frequency_modulator_fc_0</sink_block_id><source_key>0</source_key><sink_key>0</sink_key></connection>
<connection><source_block_id>digital_packet_headerparser_b_0</source_block_id><sink_block_id>digital_header_payload_demux_0</sink_block_id><source_key>header_data</source_key><sink_key>header_data</sink_key></connection>
<connection><source_block_id>digital_protocol_formatter_bb_0</source_block_id><sink_block_id>blocks_repack_bits_bb_0_0</sink_block_id><source_key>0</source_key><sink_key>0</sink_key></connection>
<connection><source_block_id>fec_extended_tagged_decoder_0_0</source_block_id><sink_block_id>blocks_repack_bits_bb_0_1_0</sink_block_id><source_key>0</source_key><sink_key>0</sink_key></connection>
<connection><source_block_id>fec_extended_tagged_encoder_0</source_block_id><sink_block_id>blocks_repack_bits_bb_0_2_0</sink_block_id><source_key>0</source_key><sink_key>0</sink_key></connection>
<connection><source_block_id>fft_vxx_0</source_block_id><sink_block_id>digital_ofdm_cyclic_prefixer_0</sink_block_id><source_key>0</source_key><sink_key>0</sink_key></connection>
<connection><source_block_id>fft_vxx_0_0</source_block_id><sink_block_id>digital_ofdm_chanest_vcvc_0</sink_block_id><source_key>0</source_key><sink_key>0</sink_key></connection>
<connection><source_block_id>fft_vxx_1</source_block_id><sink_block_id>digital_ofdm_frame_equalizer_vcvc_1</sink_block_id><source_key>0</source_key><sink_key>0</sink_key></connection>
<connection><source_block_id>ofdm_allocator_per_measure_0</source_block_id><sink_block_id>blocks_file_sink_0</sink_block_id><source_key>0</source_key><sink_key>0</sink_key></connection>
<connection><source_block_id>ofdm_allocator_per_measure_0</source_block_id><sink_block_id>blocks_tag_debug_1_0</sink_block_id><source_key>0</source_key><sink_key>0</sink_key></connection>
<connection><source_block_id>uhd_usrp_source_0</source_block_id><sink_block_id>blocks_delay_0</sink_block_id><source_key>0</source_key><sink_key>0</sink_key></connection>
<connection><source_block_id>uhd_usrp_source_0</source_block_id><sink_block_id>blocks_file_sink_0_0</sink_block_id><source_key>0</source_key><sink_key>0</sink_key></connection>
<connection><source_block_id>uhd_usrp_source_0</source_block_id><sink_block_id>digital_ofdm_rx_0</sink_block_id><source_key>0</source_key><sink_key>0</sink_key></connection>
<connection><source_block_id>uhd_usrp_source_0</source_block_id><sink_block_id>digital_ofdm_sync_sc_cfb_0</sink_block_id><source_key>0</source_key><sink_key>0</sink_key></connection>
<connection><source_block_id>uhd_usrp_source_0</source_block_id><sink_block_id>qtgui_freq_sink_x_1</sink_block_id><source_key>0</source_key><sink_key>0</sink_key></connection>
<connection><source_block_id>uhd_usrp_source_0</source_block_id><sink_block_id>qtgui_waterfall_sink_x_0</sink_block_id><source_key>0</source_key><sink_key>0</sink_key></connection>
<connection><source_block_id>virtual_source_0</source_block_id><sink_block_id>digital_chunks_to_symbols_xx_0</sink_block_id><source_key>0</source_key><sink_key>0</sink_key></connection>
<connection><source_block_id>virtual_source_0_0</source_block_id><sink_block_id>digital_chunks_to_symbols_xx_0_0</sink_block_id><source_key>0</source_key><sink_key>0</sink_key></connection>
<connection><source_block_id>virtual_source_0_0_0</source_block_id><sink_block_id>digital_ofdm_carrier_allocator_cvc_0</sink_block_id><source_key>0</source_key><sink_key>0</sink_key></connection>
<connection><source_block_id>virtual_source_0_0_0_0</source_block_id><sink_block_id>blocks_multiply_const_vxx_0</sink_block_id><source_key>0</source_key><sink_key>0</sink_key></connection>
<connection><source_block_id>virtual_source_0_0_1</source_block_id><sink_block_id>digital_constellation_decoder_cb_1</sink_block_id><source_key>0</source_key><sink_key>0</sink_key></connection>
<connection><source_block_id>virtual_source_0_1</source_block_id><sink_block_id>fft_vxx_0_0</sink_block_id><source_key>0</source_key><sink_key>0</sink_key></connection>
<connection><source_block_id>virtual_source_1</source_block_id><sink_block_id>channels_channel_model_0</sink_block_id><source_key>0</source_key><sink_key>0</sink_key></connection>
<connection><source_block_id>virtual_source_1_0</source_block_id><sink_block_id>fft_vxx_1</sink_block_id><source_key>0</source_key><sink_key>0</sink_key></connection>
</flow_graph>
